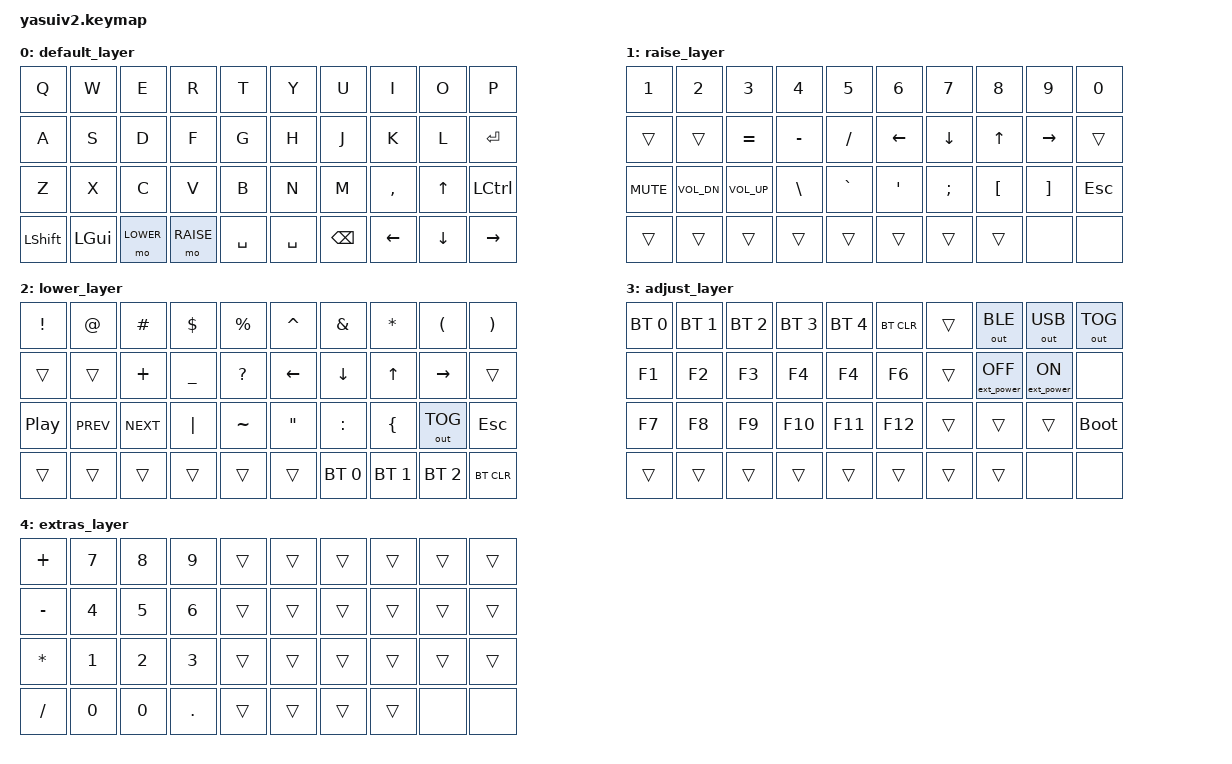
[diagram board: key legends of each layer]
/*
 * Copyright (c) 2020 The ZMK Contributors
 *
 * SPDX-License-Identifier: MIT
 */

#include <behaviors.dtsi>
#include <dt-bindings/zmk/keys.h>
#include <dt-bindings/zmk/bt.h>
#include <dt-bindings/zmk/outputs.h>
#include <dt-bindings/zmk/ext_power.h>

#define DEFAULT 0
#define RAISE 1
#define LOWER 2
#define ADJUST 3
#define EXTRAS 4

/ {
    combos {
        compatible = "zmk,combos";
        combo_adjust {
            timeout-ms = <50>;
            key-positions = <33 36>;
            bindings = <&mo ADJUST>;
        };
    };
};

/ {
    behaviors {
        hm: homerow_mods {
            compatible = "zmk,behavior-hold-tap";
            label = "homerow mods";
            #binding-cells = <2>;
            tapping-term-ms = <225>;
            flavor = "tap-preferred";
            bindings = <&kp>, <&kp>;
        };
    };
};


/ {
       keymap {
              compatible = "zmk,keymap";
 
              default_layer {
                     bindings = <
    &kp Q     &kp W       &kp E      &kp R       &kp T      &kp Y      &kp U       &kp I          &kp O       &kp P
    &kp A     &kp S       &kp D      &kp F       &kp G      &kp H      &kp J       &kp K          &kp L       &kp ENTER
    &kp Z     &kp X       &kp C      &kp V       &kp B      &kp N      &kp M       &kp COMMA      &kp UP      &kp LCTRL
    &kp LSHFT &kp LGUI    &mo LOWER  &mo RAISE   &kp SPACE  &kp SPACE  &kp BSPC    &kp LEFT       &kp DOWN    &kp RIGHT
                     >;
              };

              raise_layer {
                     bindings = <
    &kp N1     &kp N2       &kp N3       &kp N4    &kp N5     &kp N6   &kp N7   &kp N8   &kp N9    &kp N0
    &trans     &trans       &kp EQUAL    &kp MINUS &kp SLASH  &kp LEFT &kp DOWN &kp UP   &kp RIGHT &trans
    &kp C_MUTE &kp C_VOL_DN &kp C_VOL_UP &kp BSLH  &kp GRAVE  &kp SQT  &kp SEMI &kp LBKT &kp RBKT  &kp ESC
    &trans     &trans       &trans       &trans    &trans     &trans   &trans   &trans   &none     &none
                     >;
              };

              lower_layer {
                     bindings = <
    &kp EXCL     &kp AT       &kp HASH     &kp DLLR     &kp PRCNT    &kp CARET     &kp AMPS        &kp STAR       &kp LPAR         &kp RPAR
    &trans       &trans       &kp PLUS     &kp UNDER    &kp QMARK    &kp LEFT      &kp DOWN        &kp UP         &kp RIGHT        &trans
    &kp C_PP     &kp C_PREV   &kp C_NEXT   &kp PIPE     &kp TILDE    &kp DQT       &kp COLON       &kp LBRC       &out OUT_TOG     &kp ESC
    &trans       &trans       &trans       &trans       &trans       &trans        &bt BT_SEL 0    &bt BT_SEL 1   &bt BT_SEL 2     &bt BT_CLR
                     >;
              };

              adjust_layer {
                     bindings = <
    &bt BT_SEL 0 &bt BT_SEL 1 &bt BT_SEL 2 &bt BT_SEL 3 &bt BT_SEL 4 &bt BT_CLR &trans &out OUT_BLE      &out OUT_USB     &out OUT_TOG
    &kp F1       &kp F2       &kp F3       &kp F4       &kp F4       &kp F6     &trans &ext_power EP_OFF &ext_power EP_ON &none
    &kp F7       &kp F8       &kp F9       &kp F10      &kp F11      &kp F12    &trans &trans            &trans           &bootloader
    &trans       &trans       &trans       &trans       &trans       &trans     &trans &trans            &none            &none
                     >;
              };

              extras_layer {
                     bindings = <
    &kp PLUS  &kp N7 &kp N8 &kp N9  &trans &trans &trans &trans &trans &trans
    &kp MINUS &kp N4 &kp N5 &kp N6  &trans &trans &trans &trans &trans &trans
    &kp STAR  &kp N1 &kp N2 &kp N3  &trans &trans &trans &trans &trans &trans
    &kp SLASH &kp N0 &kp N0 &kp DOT &trans &trans &trans &trans &none  &none
                     >;
              };
       };
};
